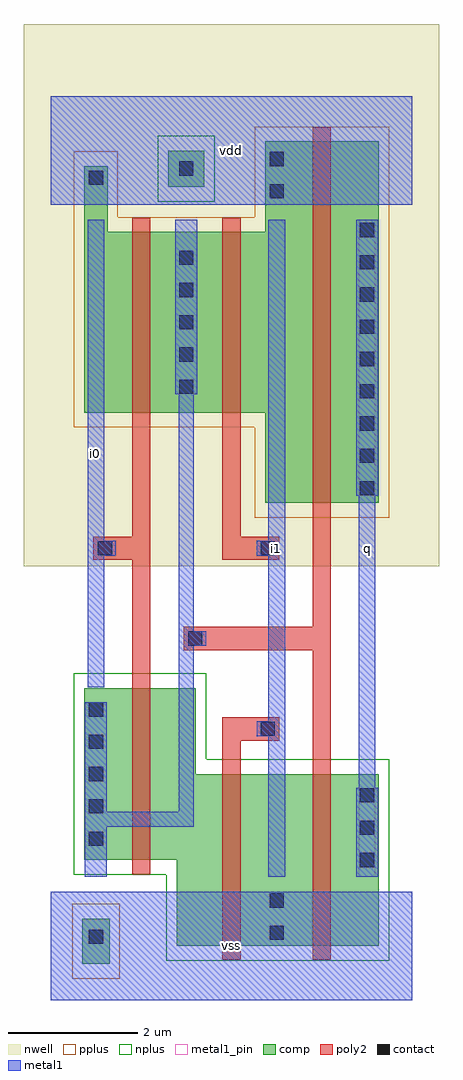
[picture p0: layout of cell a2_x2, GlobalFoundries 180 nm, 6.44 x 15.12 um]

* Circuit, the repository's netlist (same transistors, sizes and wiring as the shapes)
* a2_x2
.subckt a2_x2 vss q vdd i0 i1
Mn_net0_1 vss _net0 q vss nfet_03v3 l=0.28um w=2.66um
Mp_net0_1 vdd _net0 q vdd pfet_03v3 l=0.28um w=5.6um
Mn_i0_1 _net0 i0 _net1 vss nfet_03v3 l=0.28um w=2.66um
Mp_i0_1 vdd i0 _net0 vdd pfet_03v3 l=0.28um w=2.8um
Mp_i1_1 _net0 i1 vdd vdd pfet_03v3 l=0.28um w=2.8um
Mn_i1_1 _net1 i1 vss vss nfet_03v3 l=0.28um w=2.66um
.ends a2_x2

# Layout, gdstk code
import gdstk
lib = gdstk.Library(unit=1e-6, precision=1e-09)
def R(c, l, rs):  # rectangles x0, y0, x1, y1
    for r in rs: c.add(gdstk.rectangle(r[:2], r[2:], *l))
def A(c, l, x, y, w, h, nx, ny, dx, dy):  # array of equal rectangles
    R(c, l, [(x+i*dx, y+j*dy, x+i*dx+w, y+j*dy+h) for i in range(nx) for j in range(ny)])
def P(c, l, *ps):  # polygons
    for p in ps: c.add(gdstk.Polygon(p, *l))
nwell = (21, 0)
comp = (22, 0)
poly2 = (30, 0)
pplus = (31, 0)
nplus = (32, 0)
contact = (33, 0)
metal1 = (34, 0)
metal1_pin = (34, 10)

a2_x2 = lib.new_cell('a2_x2')
R(a2_x2, nwell, [(-0.42,6.72,6.02,15.12)])
R(a2_x2, comp, [(0.49,0.56,0.91,1.26), (1.82,12.6,2.38,13.16)])
P(a2_x2, comp, [(1.95,0.84),(1.95,2.17),(0.52,2.17),(0.52,4.83),(2.25,4.83),(2.25,3.5),(5.08,3.5),(5.08,0.84)],
  [(3.32,7.7),(3.32,9.1),(0.52,9.1),(0.52,12.92),(0.88,12.92),(0.88,11.9),(3.32,11.9),(3.32,13.3),(5.08,13.3),(5.08,7.7)])
P(a2_x2, poly2, [(4.06,0.62),(4.06,5.42),(2.06,5.42),(2.06,5.78),(4.06,5.78),(4.06,13.52),(4.34,13.52),(4.34,0.62)],
  [(1.26,1.95),(1.26,6.82),(0.66,6.82),(0.66,7.18),(1.26,7.18),(1.26,12.12),(1.54,12.12),(1.54,1.95)],
  [(2.66,0.62),(2.66,4.38),(3.54,4.38),(3.54,4.02),(2.94,4.02),(2.94,0.62)],
  [(2.66,6.82),(2.66,12.12),(2.94,12.12),(2.94,7.18),(3.54,7.18),(3.54,6.82)])
R(a2_x2, pplus, [(0.33,0.33,1.07,1.49)])
P(a2_x2, pplus, [(3.16,7.47),(3.16,8.87),(0.36,8.87),(0.36,13.15),(1.04,13.15),(1.04,12.13),(3.16,12.13),(3.16,13.53),(5.24,13.53),(5.24,7.47)])
R(a2_x2, nplus, [(1.66,12.37,2.54,13.39)])
P(a2_x2, nplus, [(1.79,0.61),(1.79,1.94),(0.36,1.94),(0.36,5.06),(2.41,5.06),(2.41,3.73),(5.24,3.73),(5.24,0.61)])
A(a2_x2, contact, 4.79, 2.06, 0.22, 0.22, 1, 3, 0, 0.5)
A(a2_x2, contact, 0.59, 2.39, 0.22, 0.22, 1, 5, 0, 0.5)
A(a2_x2, contact, 4.79, 7.82, 0.22, 0.22, 1, 9, 0, 0.5)
A(a2_x2, contact, 1.99, 9.39, 0.22, 0.22, 1, 5, 0, 0.5)
R(a2_x2, contact, [(0.59,0.87,0.81,1.09), (3.39,0.93,3.61,1.15), (3.39,1.43,3.61,1.65), (3.25,4.09,3.47,4.31), (2.13,5.49,2.35,5.71), (0.73,6.89,0.95,7.11), (3.25,6.89,3.47,7.11), (3.39,12.42,3.61,12.64), (0.59,12.63,0.81,12.85), (1.99,12.77,2.21,12.99), (3.39,12.92,3.61,13.14)])
R(a2_x2, metal1, [(0,0,5.6,1.68), (0,12.32,5.6,14)])
P(a2_x2, metal1, [(4.73,1.91),(4.73,3.285),(4.77,3.285),(4.77,7.815),(4.73,7.815),(4.73,12.09),(5.07,12.09),(5.07,7.815),(5.03,7.815),(5.03,3.285),(5.07,3.285),(5.07,1.91)],
  [(0.53,1.91),(0.53,4.615),(0.87,4.615),(0.87,2.915),(1.985,2.915),(1.985,9.385),(1.93,9.385),(1.93,12.09),(2.27,12.09),(2.27,9.385),(2.215,9.385),(2.215,5.715),(2.41,5.715),(2.41,5.485),(2.215,5.485),(2.215,2.685),(0.87,2.685),(0.87,1.91)],
  [(0.57,4.845),(0.57,12.09),(0.83,12.09),(0.83,7.115),(1.01,7.115),(1.01,6.885),(0.83,6.885),(0.83,4.845)],
  [(3.37,1.91),(3.37,4.085),(3.19,4.085),(3.19,4.315),(3.37,4.315),(3.37,6.885),(3.19,6.885),(3.19,7.115),(3.37,7.115),(3.37,12.09),(3.63,12.09),(3.63,1.91)])
R(a2_x2, metal1_pin, [(0,0,5.6,1.68), (3.37,1.91,3.63,12.09), (4.77,1.91,5.03,12.09), (0.57,4.845,0.83,12.09), (0,12.32,5.6,14)])
a2_x2.add(gdstk.Label('vss', (2.8,0.84), layer=34, texttype=10))
a2_x2.add(gdstk.Label('q', (4.9,7), layer=34, texttype=10))
a2_x2.add(gdstk.Label('vdd', (2.8,13.16), layer=34, texttype=10))
a2_x2.add(gdstk.Label('i0', (0.7,8.468), layer=34, texttype=10))
a2_x2.add(gdstk.Label('i1', (3.5,7), layer=34, texttype=10))

lib.write_gds('a2_x2.gds')
